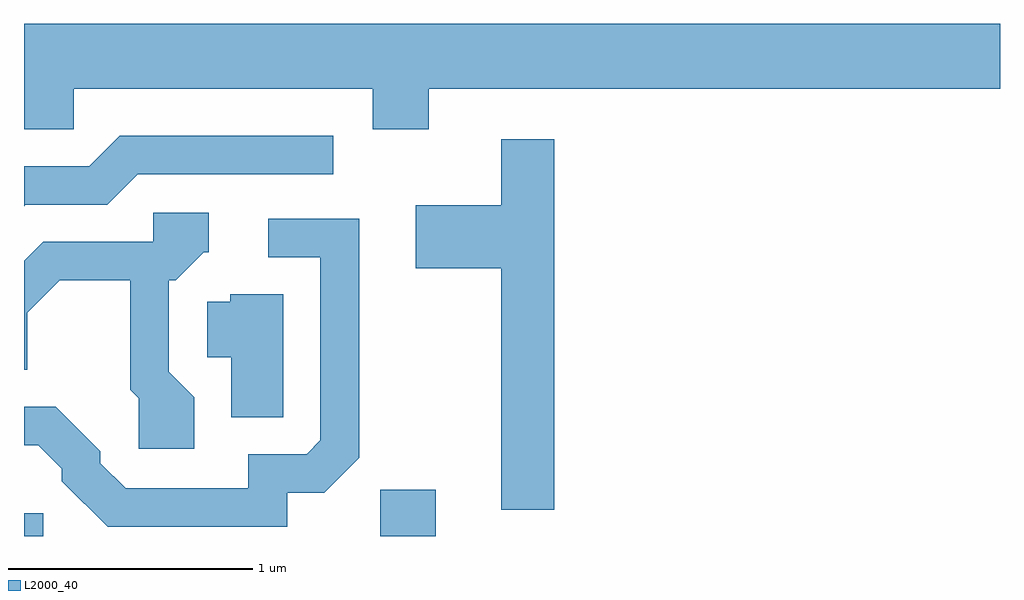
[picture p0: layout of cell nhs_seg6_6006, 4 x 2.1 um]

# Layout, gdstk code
import gdstk
lib = gdstk.Library(unit=1e-6, precision=1e-09)
def R(c, l, rs):  # rectangles x0, y0, x1, y1
    for r in rs: c.add(gdstk.rectangle(r[:2], r[2:], *l))
def P(c, l, *ps):  # polygons
    for p in ps: c.add(gdstk.Polygon(p, *l))
L2000_40 = (2000, 40)

nhs_seg6_6006 = lib.new_cell('nhs_seg6_6006')
R(nhs_seg6_6006, L2000_40, [(367.611,1588.162,367.689,1588.258), (369.071,1588.162,369.299,1588.354)])
P(nhs_seg6_6006, L2000_40, [(367.814,1589.996),(369.041,1589.996),(369.041,1589.831),(369.269,1589.831),(369.269,1589.996),(371.611,1589.996),(371.611,1590.264),(367.611,1590.264),(367.611,1589.831),(367.814,1589.831)],
  [(367.617,1589.521),(367.952,1589.521),(368.077,1589.646),(368.878,1589.646),(368.878,1589.804),(368.004,1589.804),(367.879,1589.679),(367.611,1589.679),(367.611,1589.515)],
  [(369.784,1589.789),(369.566,1589.789),(369.566,1589.519),(369.216,1589.519),(369.216,1589.261),(369.566,1589.261),(369.566,1588.271),(369.784,1588.271)],
  [(368.309,1588.732),(368.204,1588.837),(368.204,1589.211),(368.232,1589.211),(368.347,1589.326),(368.369,1589.326),(368.369,1589.489),(368.141,1589.489),(368.141,1589.369),(367.689,1589.369),(367.611,1589.291),(367.611,1588.846),(367.624,1588.846),(367.624,1589.079),(367.757,1589.211),(368.046,1589.211),(368.046,1588.764),(368.081,1588.729),(368.081,1588.521),(368.309,1588.521)],
  [(368.689,1588.341),(368.842,1588.341),(368.984,1588.484),(368.984,1589.464),(368.613,1589.464),(368.613,1589.306),(368.826,1589.306),(368.826,1588.557),(368.769,1588.499),(368.531,1588.499),(368.531,1588.359),(368.027,1588.359),(367.924,1588.462),(367.924,1588.512),(367.742,1588.694),(367.611,1588.694),(367.611,1588.536),(367.669,1588.536),(367.766,1588.439),(367.766,1588.389),(367.954,1588.201),(368.689,1588.201)],
  [(368.674,1589.154),(368.456,1589.154),(368.456,1589.124),(368.361,1589.124),(368.361,1588.896),(368.461,1588.896),(368.461,1588.651),(368.674,1588.651)])

lib.write_gds('nhs_seg6_6006.gds')
